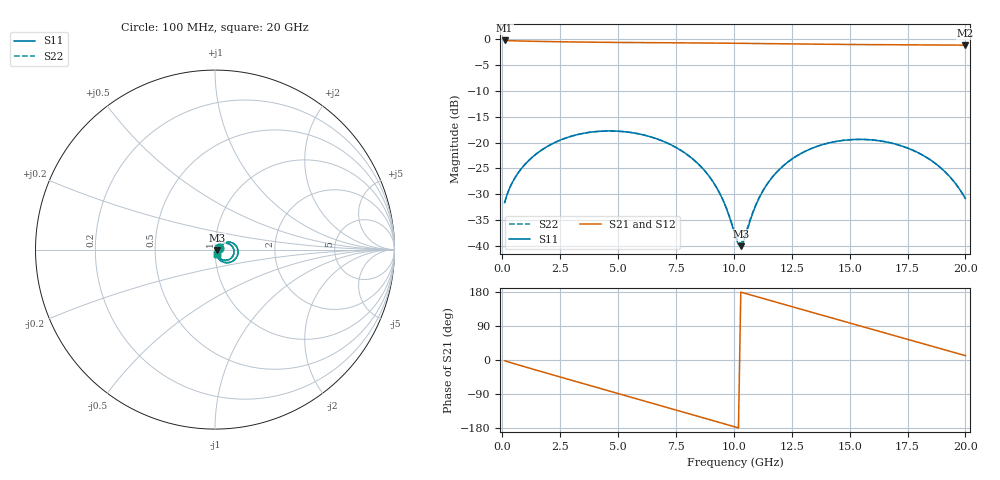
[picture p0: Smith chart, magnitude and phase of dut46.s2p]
! Touchstone file exported from HFSS 2026.1.0
!  File:  C:/ffzhzh/LocalFiles/Ansys_Project_Files/temp_train_TSV_RDL_46_1782966505_45568.aedt
!  Generated:  12:40:06 PM Jul  2, 2026
!  Design:  TSV_RDL
!  Project:  temp_train_TSV_RDL_46_1782966505_45568
! Variables:
!  h_bsmrdl = 2.02um
!  h_ox = 20um
!  h_rdl = 5um
!  h_sub = 56.95um
!  h_tmrdl = 5.49um
!  h_tsv = 56.95um
!  h_via = 3um
!  l_bsmrdl = 765.54um
!  l_sub = 6246.29um
!  l_tmrdl = 844.6um
!  m_sub = 200um
!  pitch = 34.76um
!  r_tsv = 5.29um
!  s_tmrdl = 10um
!  w_bsmrdl = 29.8um
!  w_sub = 500um
!  w_tmrdl = 27.29um
!  x_tsv_center1 = 858.245um
!  x_tsv_center2 = 1653.585um
!  x_tsv_center3 = 2525.475um
!  x_tsv_center4 = 3320.815um
!  x_tsv_center5 = 4192.705um
!  x_tsv_center6 = 4988.045um
# GHz S MA R 50.000000
! Terminal data exported
! Port[1] = TM_RDL1_1_T1
! Port[2] = TM_RDL5_1_T1
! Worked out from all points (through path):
!   200 points, 100 MHz to 20 GHz, reference 50 ohm
!   highest |S21| = -0.22 dB at 100 MHz (marker M1); lowest = -1.1 dB at 20 GHz (marker M2)
!   group delay of S21, straight-line fit = 48.3 ps
!   lowest |S11| = -40.1 dB at 10.3 GHz (marker M3), VSWR 1.02, Z = 51 - j0.191 ohm
!   |S11| at or under -10 dB: start of sweep to end of sweep
!   |S22| runs from -39.5 to -17.8 dB; largest |S21 - S12| = 4.4e-14
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0.1  0.02609 16.8  0.9753 -2.0  0.9753 -2.0  0.02609 16.8
! Gamma 0 0 0 0
! Port Impedance 50 0 50 0
0.6  0.04752 33.7  0.9657 -11.3  0.9657 -11.3  0.04751 33.7
1.3  0.07218 32.8  0.9576 -23.8  0.9576 -23.8  0.07215 32.8
2.3  0.1008 22.6  0.9487 -41.4  0.9487 -41.4  0.1007 22.7
3.5  0.1227 6.2  0.9401 -62.4  0.9401 -62.4  0.1226 6.4
5.1  0.1283 -17.5  0.9324 -90.2  0.9324 -90.2  0.1282 -17.2
5.9  0.1212 -29.6  0.9298 -104.1  0.9298 -104.1  0.1211 -29.2
6.8  0.106 -43.0  0.9273 -119.7  0.9273 -119.7  0.1059 -42.6
8  0.07589 -60.1  0.9241 -140.7  0.9241 -140.7  0.07576 -59.4
8.9  0.04813 -70.2  0.9211 -156.4  0.9211 -156.4  0.04808 -69.3
9.5  0.02863 -71.7  0.9187 -166.9  0.9187 -166.9  0.0287 -70.1
10.1  0.01165 -43.7  0.916 -177.4  0.916 -177.4  0.01214 -41.3
10.3  0.009889 -10.9  0.915 179.1  0.915 179.1  0.01054 -10.2
11  0.02612 41.7  0.9114 166.9  0.9114 166.9  0.02646 40.7
11.5  0.04127 41.9  0.9086 158.2  0.9086 158.2  0.0415 41.4
12.3  0.06379 34.0  0.9041 144.4  0.9041 144.4  0.06392 33.8
13.4  0.08833 18.9  0.8983 125.4  0.8983 125.4  0.08836 19.0
15.1  0.1067 -6.4  0.891 96.1  0.891 96.1  0.1066 -6.2
16.7  0.09999 -30.5  0.8864 68.6  0.8864 68.6  0.09987 -30.1
18.6  0.06522 -56.5  0.8821 35.7  0.8821 35.7  0.06513 -55.8
19.4  0.04465 -63.8  0.88 21.9  0.88 21.9  0.04461 -62.9
20  0.0286 -63.0  0.8782 11.5  0.8782 11.5  0.02866 -61.8
